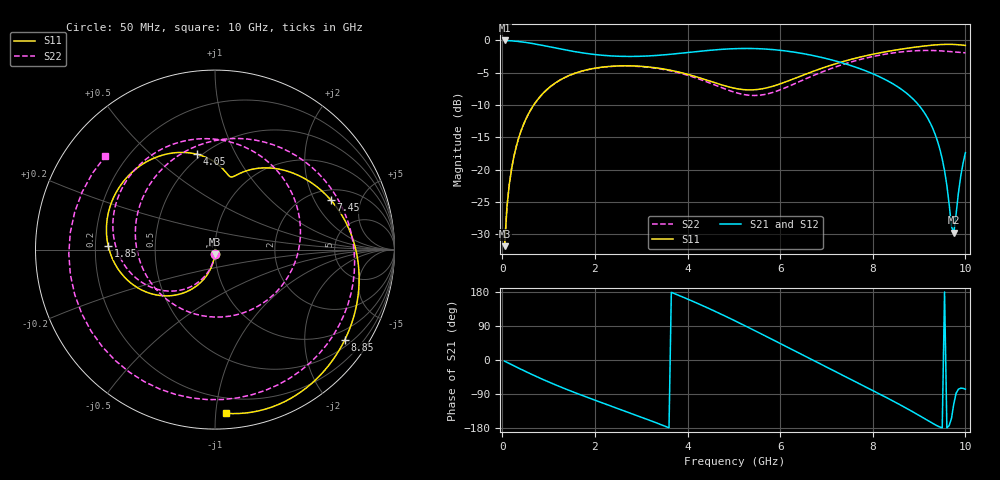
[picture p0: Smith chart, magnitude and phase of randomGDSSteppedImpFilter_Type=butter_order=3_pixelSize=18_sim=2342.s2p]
! freq	dB(S11)	phase(S11)	dB(S12)	phase(S12)
!  dB(S21)	phase(S21)	dB(S22)	phase(S22)
!S-par simulation data
#  GHz  S  DB  R 50
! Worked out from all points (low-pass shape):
!   200 points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, 50 MHz to 10 GHz, reference 50 ohm
!   highest |S21| = -0.01 dB at 50 MHz (marker M1); lowest = -29.7 dB at 9.75 GHz (marker M2)
!   |S21| within 3 dB of the highest: start of sweep to 7.108 GHz
!   lowest |S11| = -31.8 dB at 50 MHz (marker M3), VSWR 1.05, Z = 49.8 - j2.56 ohm
!   |S11| at or under -10 dB: start of sweep to 678.2 MHz
!   |S22| runs from -31.8 to -1.5 dB; largest |S21 - S12| = 0
!   S11 on the Smith chart (normalised r, x): 50 MHz: 1.00, -0.05; 1.85 GHz: 0.25, +0.02; 4.05 GHz: 0.47, +0.71; 7.45 GHz: 2.50, +2.73; 8.85 GHz: 0.68, -3.05; 10 GHz: 0.10, -1.07
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0.05  -31.81 -93.0  -0.01 -3.1  -0.01 -3.1  -31.81 -93.4
0.2  -19.86 -101.9  -0.06 -12.3  -0.06 -12.3  -19.87 -103.4
0.5  -12.31 -118.8  -0.31 -30.1  -0.31 -30.1  -12.31 -122.5
1.05  -7.08 -147.1  -1.03 -60.5  -1.03 -60.5  -7.09 -155.0
1.75  -4.68 -177.9  -1.95 -94.6  -1.95 -94.6  -4.69 167.7
1.85  -4.50 178.0  -2.05 -99.2  -2.05 -99.2  -4.52 162.5
2.7  -3.92 146.0  -2.48 -137.1  -2.48 -137.1  -3.96 119.0
3.4  -4.32 121.6  -2.28 -169.2  -2.28 -169.2  -4.39 79.7
4.05  -5.33 100.9  -1.84 158.3  -1.84 158.3  -5.49 36.2
4.55  -6.45 88.2  -1.48 131.0  -1.48 131.0  -6.78 -4.7
5.05  -7.44 80.4  -1.27 101.9  -1.27 101.9  -8.08 -54.9
5.5  -7.60 76.4  -1.27 74.6  -1.27 74.6  -8.50 -106.8
6  -6.72 69.8  -1.53 43.6  -1.53 43.6  -7.64 -164.4
6.7  -4.81 51.2  -2.32 0.1  -2.32 0.1  -5.48 125.8
7.45  -3.08 23.3  -3.71 -46.3  -3.71 -46.3  -3.51 61.2
7.95  -2.21 2.9  -5.00 -77.3  -5.00 -77.3  -2.57 20.1
8.35  -1.66 -13.8  -6.36 -102.6  -6.36 -102.6  -2.03 -13.6
8.85  -1.10 -34.8  -8.91 -135.7  -8.91 -135.7  -1.63 -60.0
9.3  -0.72 -54.4  -13.68 -167.6  -13.68 -167.6  -1.56 -111.5
9.5  -0.63 -63.4  -18.33 -179.2  -18.33 -179.2  -1.63 -139.2
9.75  -0.62 -74.9  -29.75 -115.6  -29.75 -115.6  -1.78 -178.3
10  -0.78 -86.1  -17.35 -77.0  -17.35 -77.0  -1.91 139.7
